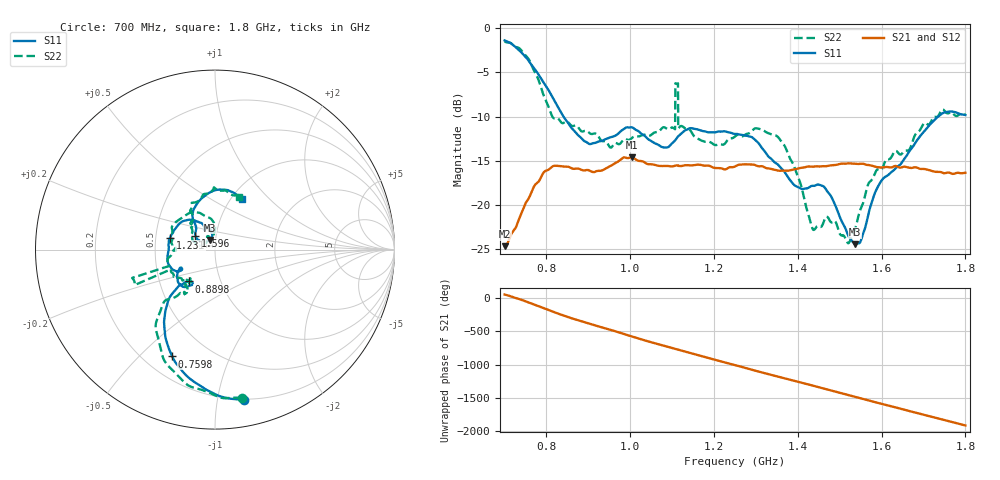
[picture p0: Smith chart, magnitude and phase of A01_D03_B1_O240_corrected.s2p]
! Created with skrf 1.9.0 (http://scikit-rf.org).
# Hz S RI R 50.0
!freq ReS11 ImS11 ReS21 ImS21 ReS12 ImS12 ReS22 ImS22
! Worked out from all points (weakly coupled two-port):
!   1601 points, 700 MHz to 1.8 GHz, reference 50 ohm
!   highest |S21| = -14.59 dB at 1.005 GHz (marker M1); lowest = -24.6 dB at 701.4 MHz (marker M2)
!   lowest |S11| = -24.4 dB at 1.537 GHz (marker M3), VSWR 1.13, Z = 47.1 + j5.11 ohm
!   |S11| at or under -10 dB: 840.6 MHz to 1.735 GHz (894 MHz wide, 69.4 % of centre)
!   |S22| runs from -24.3 to -1.5 dB; largest |S21 - S12| = 0.0035
!   S11 on the Smith chart (normalised r, x): 700 MHz: 0.20, -1.19; 759.8 MHz: 0.31, -0.63; 889.8 MHz: 0.70, -0.26; 1.231 GHz: 0.60, +0.08; 1.596 GHz: 0.80, +0.12; 1.8 GHz: 1.12, +0.71
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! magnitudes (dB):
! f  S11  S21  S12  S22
! 700 MHz  -1.4  -24.6  -24.4  -1.5
! 701.4 MHz  -1.4  -24.6  -24.3  -1.5
! 759.8 MHz  -3.9  -19.0  -18.9  -3.7
! 814.8 MHz  -7.8  -15.6  -15.7  -10.1
! 883.6 MHz  -12.4  -16.0  -15.9  -11.7
! 889.8 MHz  -12.7  -16.1  -16.0  -11.6
! 1.005 GHz  -11.2  -14.6  -14.7  -12.4
! 1.067 GHz  -13.2  -15.5  -15.5  -11.7
! 1.101 GHz  -12.9  -15.6  -15.6  -11.2
! 1.113 GHz  -12.3  -15.5  -15.6  -6.3
! 1.12 GHz  -12.0  -15.6  -15.5  -11.1
! 1.231 GHz  -11.7  -15.9  -15.8  -12.7
! 1.25 GHz  -12.0  -15.6  -15.6  -12.2
! 1.355 GHz  -15.6  -16.1  -16.0  -12.4
! 1.434 GHz  -17.8  -15.7  -15.6  -22.5
! 1.468 GHz  -18.3  -15.6  -15.6  -21.3
! 1.52 GHz  -23.3  -15.3  -15.3  -24.3
! 1.537 GHz  -24.4  -15.3  -15.3  -22.7
! 1.596 GHz  -17.5  -15.7  -15.7  -16.1
! 1.617 GHz  -16.5  -15.7  -15.7  -14.8
! 1.739 GHz  -9.8  -16.2  -16.3  -9.6
! 1.8 GHz  -9.8  -16.3  -16.3  -9.8
